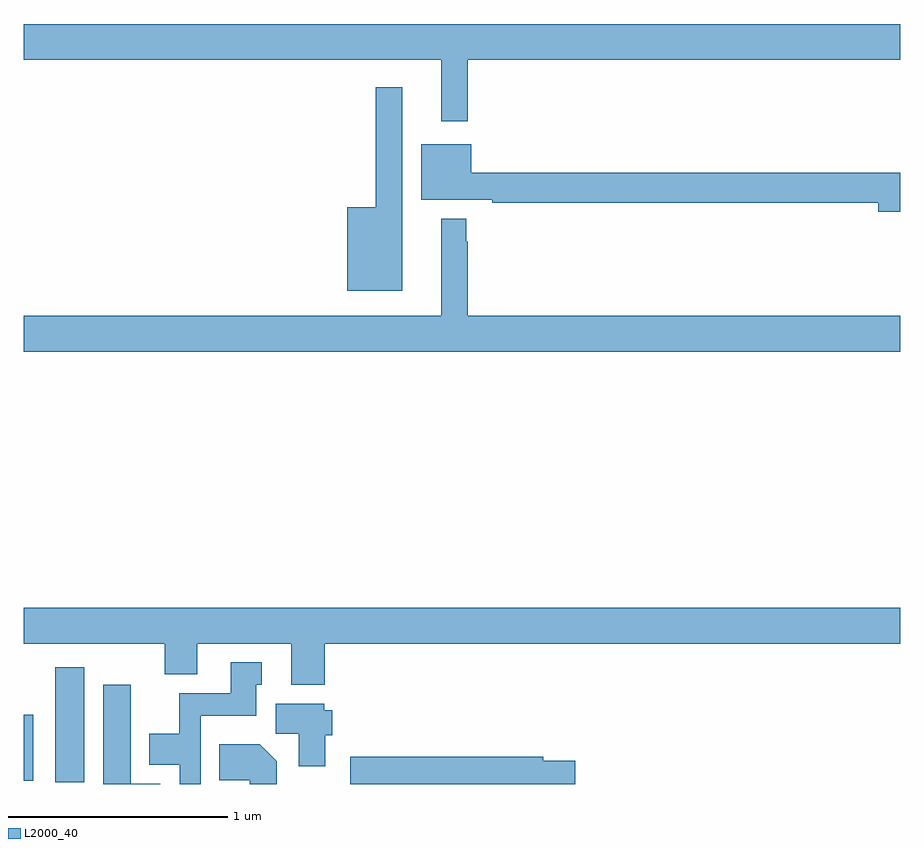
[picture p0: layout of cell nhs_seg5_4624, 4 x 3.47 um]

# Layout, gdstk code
import gdstk
lib = gdstk.Library(unit=1e-6, precision=1e-09)
def R(c, l, rs):  # rectangles x0, y0, x1, y1
    for r in rs: c.add(gdstk.rectangle(r[:2], r[2:], *l))
def P(c, l, *ps):  # polygons
    for p in ps: c.add(gdstk.Polygon(p, *l))
L2000_40 = (2000, 40)

nhs_seg5_4624 = lib.new_cell('nhs_seg5_4624')
R(nhs_seg5_4624, L2000_40, [(383.144,842.808,383.275,843.331), (383,842.813,383.044,843.115)])
P(nhs_seg5_4624, L2000_40, [(385.027,846.104),(387,846.104),(387,846.268),(383,846.268),(383,846.104),(384.905,846.104),(384.905,845.823),(385.027,845.823)],
  [(384.727,845.98),(384.606,845.98),(384.606,845.431),(384.476,845.431),(384.476,845.051),(384.727,845.051)],
  [(387,845.588),(385.042,845.588),(385.042,845.719),(384.815,845.719),(384.815,845.465),(385.138,845.465),(385.138,845.452),(386.9,845.452),(386.9,845.41),(387,845.41)],
  [(387,844.936),(385.027,844.936),(385.027,845.273),(385.02,845.273),(385.02,845.38),(384.905,845.38),(384.905,844.936),(383,844.936),(383,844.772),(387,844.772)],
  [(384.374,843.44),(387,843.44),(387,843.604),(383,843.604),(383,843.44),(383.644,843.44),(383.644,843.299),(383.791,843.299),(383.791,843.44),(384.221,843.44),(384.221,843.251),(384.374,843.251)],
  [(383.808,843.11),(384.061,843.11),(384.061,843.252),(384.085,843.252),(384.085,843.355),(383.945,843.355),(383.945,843.214),(383.71,843.214),(383.71,843.028),(383.573,843.028),(383.573,842.888),(383.712,842.888),(383.712,842.799),(383.808,842.799)],
  [(383.623,842.8),(383.488,842.8),(383.488,843.253),(383.363,843.253),(383.363,842.799),(383.623,842.799)],
  [(384.376,843.021),(384.407,843.021),(384.407,843.135),(384.372,843.135),(384.372,843.166),(384.149,843.166),(384.149,843.028),(384.254,843.028),(384.254,842.88),(384.376,842.88)],
  [(384.154,842.902),(384.076,842.98),(383.893,842.98),(383.893,842.816),(384.032,842.816),(384.032,842.799),(384.154,842.799)],
  [(385.517,842.904),(385.37,842.904),(385.37,842.924),(384.489,842.924),(384.489,842.799),(385.517,842.799)])

lib.write_gds('nhs_seg5_4624.gds')
